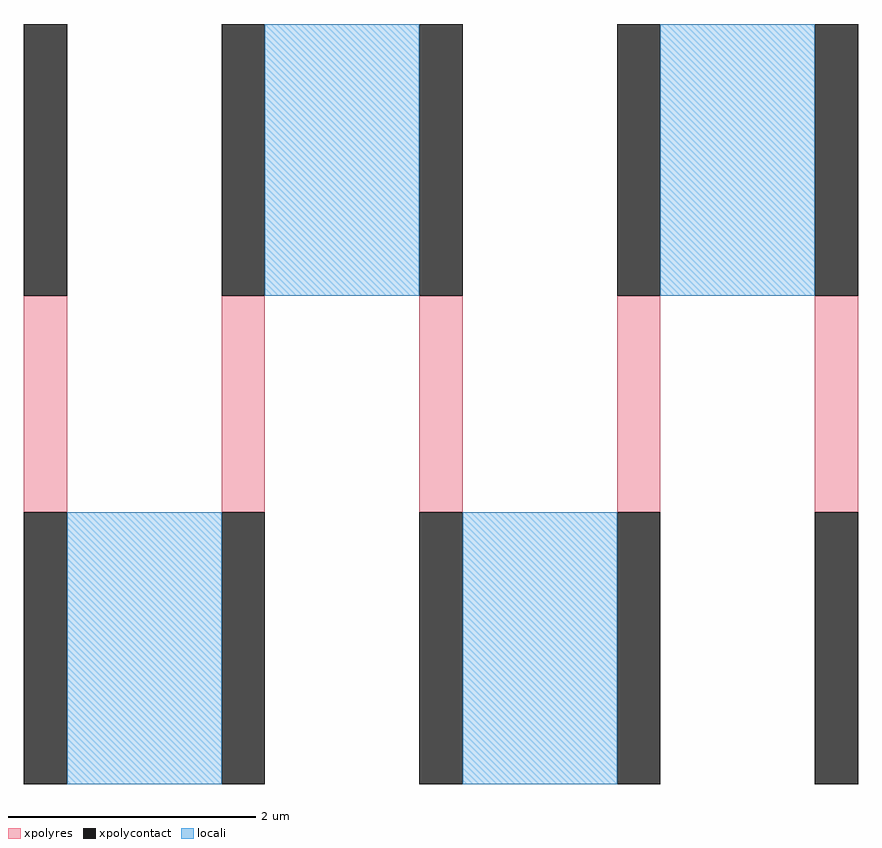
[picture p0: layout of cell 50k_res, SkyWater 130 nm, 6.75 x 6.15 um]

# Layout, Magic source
magic
tech sky130A
<< xpolycontact >>
rect -5 390 30 610
rect -5 -5 30 215
rect 155 390 190 610
rect 155 -5 190 215
rect 315 390 350 610
rect 315 -5 350 215
rect 475 390 510 610
rect 475 -5 510 215
rect 635 390 670 610
rect 635 -5 670 215
<< xpolyres >>
rect -5 215 30 390
rect 155 215 190 390
rect 315 215 350 390
rect 475 215 510 390
rect 635 215 670 390
<< locali >>
rect 190 390 315 610
rect 510 390 635 610
rect 30 -5 155 215
rect 350 -5 475 215
<< end >>
